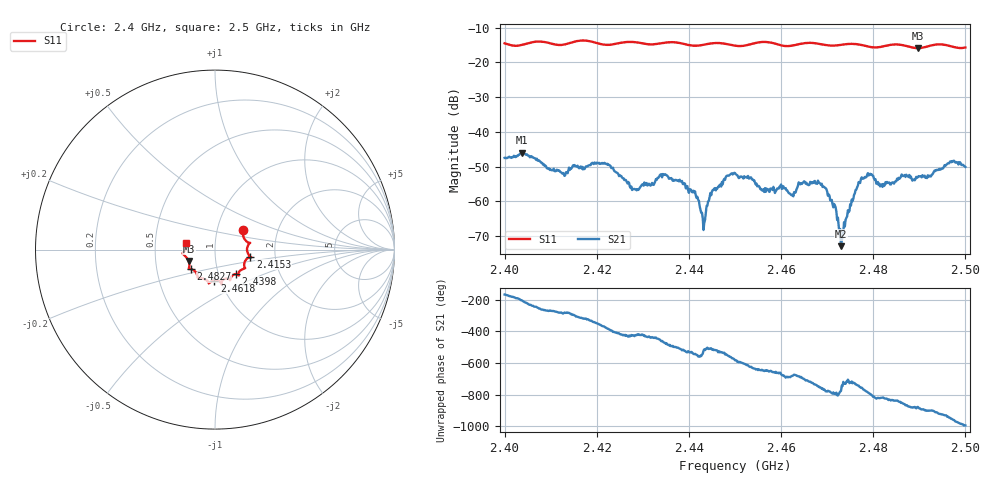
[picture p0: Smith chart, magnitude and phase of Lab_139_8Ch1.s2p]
# Hz S RI R 50
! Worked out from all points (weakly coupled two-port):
!   601 points, 2.4 GHz to 2.5 GHz, reference 50 ohm
!   highest |S21| = -46.04 dB at 2.4037 GHz (marker M1); lowest = -73.0 dB at 2.473 GHz (marker M2)
!   lowest |S11| = -15.9 dB at 2.4897 GHz (marker M3), VSWR 1.38, Z = 36.9 - j4.83 ohm
!   |S11| at or under -10 dB: start of sweep to end of sweep
!   S12 and S22 are empty: the file has one direction only
!   S11 on the Smith chart (normalised r, x): 2.4 GHz: 1.33, +0.29; 2.4153 GHz: 1.48, -0.12; 2.4398 GHz: 1.21, -0.34; 2.4618 GHz: 0.94, -0.33; 2.4827 GHz: 0.75, -0.17; 2.5 GHz: 0.72, +0.06
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2.4e9  0.1556 0.1068  -0.00411 -0.000931  0 0  0 0
2.403667e9  0.1711 0.0507  -0.00461 0.0019  0 0  0 0
2.412667e9  0.1795 -0.0103  0.00077 0.00243  0 0  0 0
2.415333e9  0.1964 -0.0394  0.00166 0.00275  0 0  0 0
2.416667e9  0.2023 -0.0433  0.00205 0.00215  0 0  0 0
2.422167e9  0.1664 -0.0664  0.0032 -0.00113  0 0  0 0
2.428167e9  0.1662 -0.1045  0.000515 -0.00141  0 0  0 0
2.433333e9  0.1299 -0.1336  0.000131 -0.00216  0 0  0 0
2.439833e9  0.1156 -0.1361  -0.00138 -0.000385  0 0  0 0
2.441667e9  0.0982 -0.1438  -0.0011 0.000151  0 0  0 0
2.443167e9  0.0879 -0.1566  -0.000364 -0.000123  0 0  0 0
2.445167e9  0.0838 -0.1696  -0.00129 -0.000669  0 0  0 0
2.45e9  0.0649 -0.1621  -0.00189 0.00171  0 0  0 0
2.461833e9  -0.00329 -0.1725  0.00109 0.000695  0 0  0 0
2.466667e9  -0.0348 -0.188  0.0018 -0.000141  0 0  0 0
2.47e9  -0.0478 -0.1701  0.000698 -0.00119  0 0  0 0
2.473e9  -0.0809 -0.1599  0.000125 -0.000187  0 0  0 0
2.477333e9  -0.0973 -0.1505  0.00169 -0.00123  0 0  0 0
2.482667e9  -0.1348 -0.1089  -0.000459 -0.00182  0 0  0 0
2.483333e9  -0.1399 -0.1085  -0.000728 -0.0017  0 0  0 0
2.489667e9  -0.1472 -0.0638  -0.00203 -0.000896  0 0  0 0
2.5e9  -0.1595 0.0389  0.000193 0.00311  0 0  0 0
